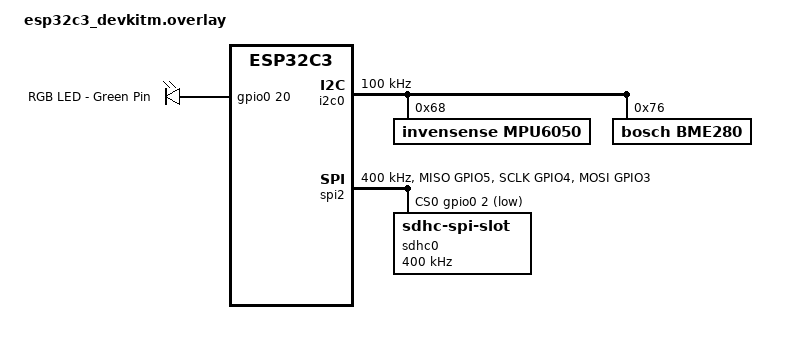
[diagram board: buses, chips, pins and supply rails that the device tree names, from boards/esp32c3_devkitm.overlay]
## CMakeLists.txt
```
#-------------------------------------------------------------------------------
# Zephyr Example Application
#
# Copyright (c) 2021 Nordic Semiconductor ASA
# SPDX-License-Identifier: Apache-2.0

cmake_minimum_required(VERSION 3.13.1)
find_package(Zephyr REQUIRED HINTS $ENV{ZEPHYR_BASE})

project(app LANGUAGES C)

target_sources(app PRIVATE 
    src/main.c
    src/tasks/appTask.c
    src/tasks/i2cTask.c
    src/tasks/spiTask.c
)
```

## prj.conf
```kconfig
# Default Setup
CONFIG_I2C=y
CONFIG_SPI=y
CONFIG_CBPRINTF_FP_SUPPORT=y
CONFIG_CBPRINTF_LIBC_SUBSTS=y
CONFIG_EVENTS=y

# Sensor Setup
CONFIG_SENSOR=y

# Disk Access Setup
CONFIG_DISK_ACCESS=y
CONFIG_FILE_SYSTEM=y
CONFIG_FAT_FILESYSTEM_ELM=y
CONFIG_FS_FATFS_EXFAT=y

# External Flash Setup
CONFIG_DISK_DRIVER_SDMMC=y
CONFIG_SDHC=y

CONFIG_CBPRINTF_COMPLETE=y
CONFIG_NEWLIB_LIBC=y
CONFIG_NEWLIB_LIBC_FLOAT_PRINTF=y
CONFIG_CBPRINTF_FP_SUPPORT=y

CONFIG_I2C_LOG_LEVEL_DBG=y
# CONFIG_SDHC_LOG_LEVEL_DBG=y
CONFIG_LOG=y
```

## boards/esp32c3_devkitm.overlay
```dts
&pinctrl {
    spim2_default: spim2_default {
        group1 {
            pinmux = <SPIM2_MISO_GPIO5>,
                     <SPIM2_SCLK_GPIO4>,
                     <SPIM2_MOSI_GPIO3>;
            bias-pull-up;
        };
    };
    i2c0_default: i2c0_default {
        group1 {
            pinmux = <I2C0_SCL_GPIO6>,
                     <I2C0_SDA_GPIO10>;
            bias-pull-up;
        };
    };
};

/ {
    chosen {
        zephyr,console = &usb_serial;
        zephyr,shell-uart = &usb_serial;
    };

    leds {
        compatible = "gpio-leds";

        led_red: led_red {
            gpios = <&gpio0 20 GPIO_ACTIVE_HIGH>;
            label = "RGB LED - Green Pin";
        };

    };

    aliases {
        spibus = &spi2;
        i2cbus = &i2c0;
    };

};

&i2c0 {
    status = "okay";
    clock-frequency = <I2C_BITRATE_STANDARD>;
    pinctrl-0 = <&i2c0_default>;
    pinctrl-names = "default";

    mpu6050: mpu6050@68 {
        compatible = "invensense,mpu6050";
        reg = <0x68>;
        status = "okay";
    };

    bme280: bme280@76 {
        compatible = "bosch,bme280";
        reg = <0x76>;
        status = "okay";
    };
};


&spi2 {
    status = "okay";
    clock-frequency = <400000>;
    pinctrl-0 = <&spim2_default>;
    pinctrl-names = "default";
    cs-gpios = <&gpio0 2 GPIO_ACTIVE_LOW>;

    sdhc0: sdhc@0 {
        compatible = "zephyr,sdhc-spi-slot";
        reg = <0>;
        status = "okay";
        spi-max-frequency = <400000>;
        mmc {
            compatible = "zephyr,sdmmc-disk";
            status = "okay";
        };
    };

};
```

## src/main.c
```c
/**
 * 1. Call I2C Readings
 * 2. Write data to SD Card through SPI on event receive
 * 3. Spit values through CAN Bus on event receive
 */

#include <zephyr/kernel.h>
#include <zephyr/device.h>
#include <zephyr/drivers/sensor.h>
#include <zephyr/logging/log.h>
#include <zephyr/fs/fs.h>
#include <zephyr/storage/disk_access.h>
#include <ff.h>
#include <stdio.h>

#include "./tasks/i2cTask.h"
#include "./tasks/spiTask.h"

char *data[100];

LOG_MODULE_REGISTER(main);

struct I2CTask i2cTask;
struct SPITask spiTask;

K_THREAD_STACK_DEFINE(i2c_task_data, 2048);

struct k_timer sample_timer;

void sample_expiry_fn(struct k_timer *timer)
{
	I2CTask_emit_imu_task(&i2cTask);
	I2CTask_emit_baro_task(&i2cTask);
}

K_TIMER_DEFINE(sample_timer, sample_expiry_fn, NULL);

int main(void)
{
	// Initialize the threads...
	I2CTask_init(&i2cTask);

	i2cTask.super.tid = k_thread_create(
		&i2cTask.super.thread,
		i2c_task_data, K_THREAD_STACK_SIZEOF(i2c_task_data),
		I2CTask_thread, &i2cTask, NULL, NULL, 2, 0, K_NO_WAIT);

	k_timer_start(&sample_timer, K_NO_WAIT, K_MSEC(100));

	struct gpio_dt_spec red_led = GPIO_DT_SPEC_GET(DT_NODELABEL(led_red), gpios);
	int ret = gpio_pin_configure_dt(&red_led, GPIO_OUTPUT_INACTIVE);

	SPITask_fn_mount_sd(&spiTask);

	ret = gpio_pin_set_dt(&red_led, 1);

	for (;;)
	{

		int event = k_event_wait(&i2cTask.super.events, 0b1111U, false, K_NO_WAIT);

		if ((0b100U == (0b100U & event)) != 0U)
		{
			LOG_INF("%lld,%s,%.3f,%.3f,%.3f,%3f,%3f,%3f\r\n", k_uptime_get(), "IMU",
					sensor_value_to_double(&i2cTask.accel[0]),
					sensor_value_to_double(&i2cTask.accel[1]),
					sensor_value_to_double(&i2cTask.accel[2]),
					sensor_value_to_double(&i2cTask.gyro[0]),
					sensor_value_to_double(&i2cTask.gyro[1]),
					sensor_value_to_double(&i2cTask.gyro[2]));

			char buf[100];
			sprintf(buf, "%lld,%s,%.3f,%.3f,%.3f,%3f,%3f,%3f\r\n", k_uptime_get(), "IMU",
					sensor_value_to_double(&i2cTask.accel[0]),
					sensor_value_to_double(&i2cTask.accel[1]),
					sensor_value_to_double(&i2cTask.accel[2]),
					sensor_value_to_double(&i2cTask.gyro[0]),
					sensor_value_to_double(&i2cTask.gyro[1]),
					sensor_value_to_double(&i2cTask.gyro[2]));

			SPITask_fn_write_sd(&spiTask, &buf, "/SD:/imu.csv");

			k_event_clear(&i2cTask.super.events, 0b100U);
		}

		if ((0b1000U == (0b1000U & event)) != 0U)
		{
			LOG_INF("%lld,%s,%.3f,%.3f,%.3f\r\n", k_uptime_get(), "BARO",
					sensor_value_to_double(&i2cTask.pressure),
					sensor_value_to_double(&i2cTask.temperature),
					sensor_value_to_double(&i2cTask.humidity));

			char buf[100];
			sprintf(buf, "%lld,%s,%.8f,%.3f,%.3f\r\n", k_uptime_get(), "BARO",
					sensor_value_to_double(&i2cTask.pressure),
					sensor_value_to_double(&i2cTask.temperature),
					sensor_value_to_double(&i2cTask.humidity));

			SPITask_fn_write_sd(&spiTask, &buf, "/SD:/baro.csv");

			k_event_clear(&i2cTask.super.events, 0b1000U);
		}

		k_usleep(100);
	}

	return 0;
}
```
